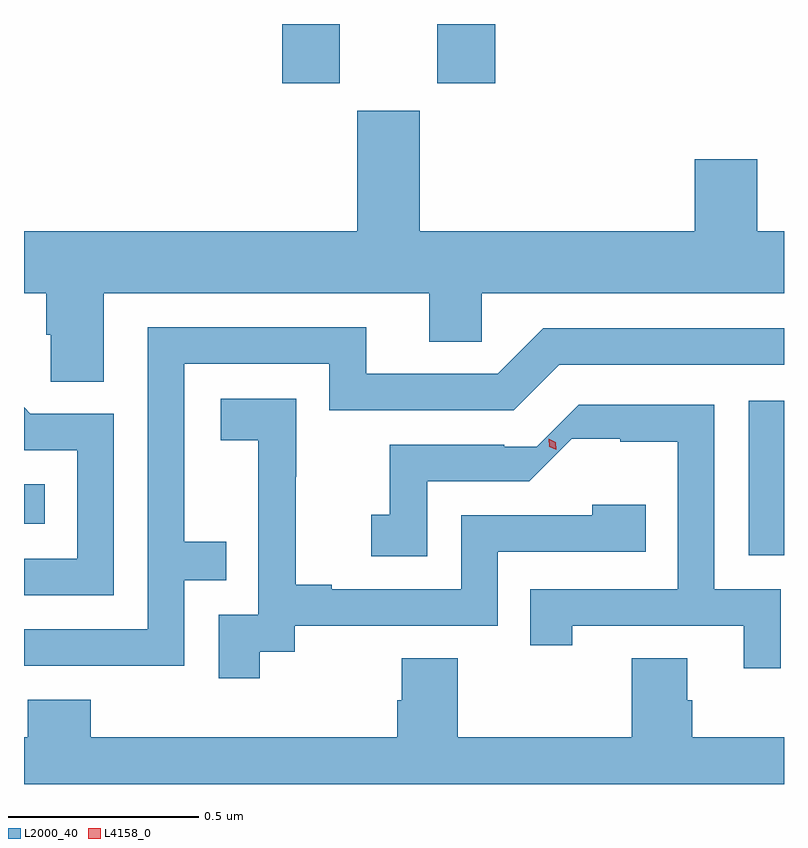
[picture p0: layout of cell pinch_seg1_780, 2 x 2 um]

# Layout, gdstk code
import gdstk
lib = gdstk.Library(unit=1e-6, precision=1e-09)
def R(c, l, rs):  # rectangles x0, y0, x1, y1
    for r in rs: c.add(gdstk.rectangle(r[:2], r[2:], *l))
def P(c, l, *ps):  # polygons
    for p in ps: c.add(gdstk.Polygon(p, *l))
L2000_40 = (2000, 40)
L4158_0 = (4158, 0)

pinch_seg1_780 = lib.new_cell('pinch_seg1_780')
R(pinch_seg1_780, L2000_40, [(848.466,509.751,848.559,510.157), (846.559,509.834,846.614,509.938), (847.238,510.993,847.39,511.149), (847.646,510.993,847.799,511.149)])
P(pinch_seg1_780, L2000_40, [(846.769,510.44),(847.625,510.44),(847.625,510.313),(847.764,510.313),(847.764,510.44),(848.559,510.44),(848.559,510.604),(848.488,510.604),(848.488,510.793),(848.324,510.793),(848.324,510.604),(847.6,510.604),(847.6,510.921),(847.436,510.921),(847.436,510.604),(846.559,510.604),(846.559,510.44),(846.617,510.44),(846.617,510.331),(846.63,510.331),(846.63,510.208),(846.769,510.208)],
  [(846.981,509.685),(847.091,509.685),(847.091,509.786),(846.981,509.786),(846.981,510.255),(847.362,510.255),(847.362,510.132),(847.848,510.132),(847.968,510.252),(848.559,510.252),(848.559,510.348),(847.926,510.348),(847.806,510.228),(847.459,510.228),(847.459,510.351),(846.885,510.351),(846.885,509.556),(846.559,509.556),(846.559,509.46),(846.981,509.46)],
  [(847.18,509.497),(847.272,509.497),(847.272,509.565),(847.806,509.565),(847.806,509.76),(848.195,509.76),(848.195,509.884),(848.055,509.884),(848.055,509.856),(847.71,509.856),(847.71,509.661),(847.369,509.661),(847.369,509.674),(847.274,509.674),(847.274,509.957),(847.275,509.957),(847.275,510.163),(847.077,510.163),(847.077,510.053),(847.175,510.053),(847.175,509.825),(847.176,509.825),(847.176,509.595),(847.071,509.595),(847.071,509.427),(847.18,509.427)],
  [(848.55,509.661),(848.376,509.661),(848.376,510.147),(848.019,510.147),(847.908,510.036),(847.823,510.036),(847.823,510.042),(847.522,510.042),(847.522,509.857),(847.473,509.857),(847.473,509.748),(847.62,509.748),(847.62,509.946),(847.889,509.946),(848,510.057),(848.128,510.057),(848.128,510.05),(848.28,510.05),(848.28,509.661),(847.891,509.661),(847.891,509.514),(848.002,509.514),(848.002,509.565),(848.453,509.565),(848.453,509.454),(848.55,509.454)],
  [(846.795,510.123),(846.576,510.123),(846.559,510.14),(846.559,510.027),(846.699,510.027),(846.699,509.742),(846.559,509.742),(846.559,509.646),(846.795,509.646)],
  [(848.559,509.272),(848.318,509.272),(848.318,509.37),(848.305,509.37),(848.305,509.48),(848.158,509.48),(848.158,509.272),(847.701,509.272),(847.701,509.48),(847.553,509.48),(847.553,509.37),(847.541,509.37),(847.541,509.272),(846.734,509.272),(846.734,509.371),(846.569,509.371),(846.569,509.272),(846.559,509.272),(846.559,509.149),(848.559,509.149)])
P(pinch_seg1_780, L4158_0, [(847.959,510.029),(847.959,510.029),(847.941,510.037),(847.94,510.057),(847.94,510.057),(847.94,510.057),(847.958,510.049),(847.959,510.029)])

lib.write_gds('pinch_seg1_780.gds')
